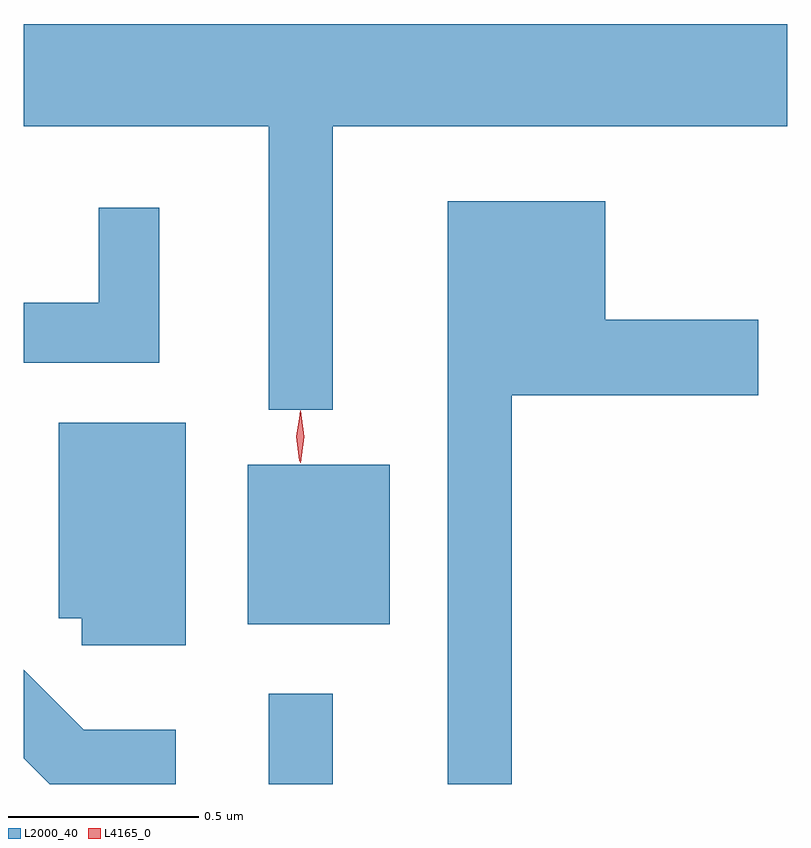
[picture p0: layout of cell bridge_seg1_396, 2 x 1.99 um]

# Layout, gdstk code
import gdstk
lib = gdstk.Library(unit=1e-6, precision=1e-09)
def R(c, l, rs):  # rectangles x0, y0, x1, y1
    for r in rs: c.add(gdstk.rectangle(r[:2], r[2:], *l))
def P(c, l, *ps):  # polygons
    for p in ps: c.add(gdstk.Polygon(p, *l))
L2000_40 = (2000, 40)
L4165_0 = (4165, 0)

bridge_seg1_396 = lib.new_cell('bridge_seg1_396')
R(bridge_seg1_396, L2000_40, [(420.331,966.672,420.499,966.908), (420.276,967.091,420.649,967.509)])
P(bridge_seg1_396, L2000_40, [(420.499,968.396),(421.69,968.396),(421.69,968.664),(419.69,968.664),(419.69,968.396),(420.331,968.396),(420.331,967.653),(420.499,967.653)],
  [(420.969,967.691),(421.614,967.691),(421.614,967.889),(421.214,967.889),(421.214,968.199),(420.801,968.199),(420.801,966.672),(420.969,966.672)],
  [(420.044,968.183),(419.886,968.183),(419.886,967.934),(419.69,967.934),(419.69,967.776),(420.044,967.776)],
  [(420.114,967.619),(419.781,967.619),(419.781,967.106),(419.841,967.106),(419.841,967.036),(420.114,967.036)],
  [(420.088,966.814),(419.847,966.814),(419.69,966.971),(419.69,966.74),(419.758,966.672),(420.088,966.672)])
P(bridge_seg1_396, L4165_0, [(420.414,967.514),(420.405,967.582),(420.414,967.65),(420.415,967.65),(420.415,967.65),(420.425,967.582),(420.415,967.514),(420.415,967.514)],
  [(420.413,967.518),(420.412,967.519),(420.404,967.583),(420.414,967.646),(420.415,967.647),(420.415,967.646),(420.424,967.582),(420.413,967.519)])

lib.write_gds('bridge_seg1_396.gds')
